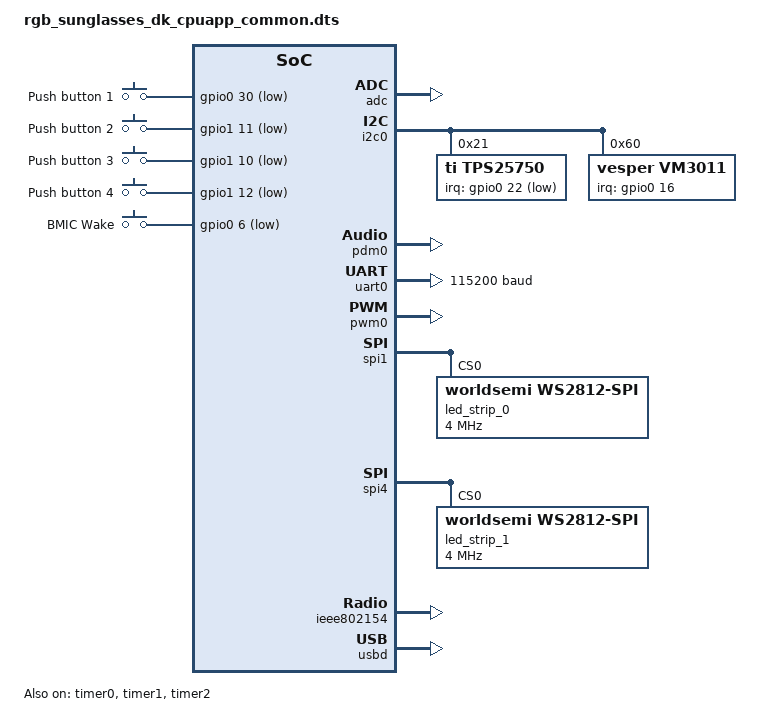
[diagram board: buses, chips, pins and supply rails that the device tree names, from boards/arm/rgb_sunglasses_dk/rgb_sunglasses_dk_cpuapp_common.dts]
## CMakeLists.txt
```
#
# Copyright (c) 2023 Nordic Semiconductor
#
# SPDX-License-Identifier: LicenseRef-Nordic-5-Clause
#
cmake_minimum_required(VERSION 3.20.0)

find_package(Zephyr REQUIRED HINTS $ENV{ZEPHYR_BASE})
project(NONE)

add_subdirectory(drivers)
add_subdirectory(include)

# NORDIC SDK APP START
target_sources(
  app
  PRIVATE
    src/main.c
    src/usb/usb_init.c
    src/led_controller.cpp
    src/pattern_controller.cpp
    src/buttons.cpp
    src/power.cpp
    src/bluetooth.cpp
    src/core_config.cpp
    src/animations/bt_animations.cpp
    src/animations/null_animation.cpp
    src/animations/text_animation.cpp
    src/animations/animation_registry.cpp
    src/animations/animation_registry_defaults.cpp
    src/animations/animation_base.cpp
    src/fonts/FontAtlas.cpp
    src/fonts/FontShell.cpp
    misc/tps25750/tps25750-config-compressed.c
)

target_sources_ifdef(CONFIG_AUDIO app PRIVATE src/sound/sound.cpp)
target_sources_ifdef(CONFIG_AUDIO app PRIVATE src/sound/audio_dsp.cpp)
target_sources_ifdef(CONFIG_FAT_FILESYSTEM_ELM app PRIVATE src/storage/storage.cpp)
target_sources_ifdef(CONFIG_FAT_FILESYSTEM_ELM app PRIVATE src/storage/glim_decoder.cpp)
target_sources_ifdef(CONFIG_ANIMATION_MY_EYES app PRIVATE src/animations/my_eyes_animation.cpp)
target_sources_ifdef(CONFIG_ANIMATION_RAINBOW app PRIVATE src/animations/rainbow_animation.cpp)
target_sources_ifdef(CONFIG_ANIMATION_ZIGZAG app PRIVATE src/animations/zigzag_animation.cpp)
target_sources_ifdef(CONFIG_ANIMATION_BEAT    app PRIVATE src/animations/beat_animation.cpp)
target_sources_ifdef(CONFIG_ANIMATION_FFT_BARS app PRIVATE src/animations/fft_bars_animation.cpp)
target_sources_ifdef(CONFIG_ANIMATION_BAD_APPLE app PRIVATE src/animations/bad_apple_animation.cpp)
target_sources_ifdef(CONFIG_ANIMATION_NYAN_CAT  app PRIVATE src/animations/nyan_cat_animation.cpp)

if(CONFIG_ANIMATION_BEAT OR CONFIG_ANIMATION_FFT_BARS)
  target_sources(app PRIVATE src/sound/animation_adapters/audio_animations_sound.cpp)
endif()

target_sources(app PRIVATE src/bluetooth/animation_adapters/text_animation_bt.cpp)

target_sources_ifdef(CONFIG_ANIMATION_MY_EYES app PRIVATE src/bluetooth/animation_adapters/my_eyes_animation_bt.cpp)
target_sources_ifdef(CONFIG_ANIMATION_RAINBOW app PRIVATE src/bluetooth/animation_adapters/rainbow_animation_bt.cpp)
target_sources_ifdef(CONFIG_ANIMATION_ZIGZAG  app PRIVATE src/bluetooth/animation_adapters/zigzag_animation_bt.cpp)
target_sources_ifdef(CONFIG_ANIMATION_BEAT    app PRIVATE src/bluetooth/animation_adapters/beat_animation_bt.cpp)
target_sources_ifdef(CONFIG_ANIMATION_FFT_BARS app PRIVATE src/bluetooth/animation_adapters/fft_bars_animation_bt.cpp)
target_sources_ifdef(CONFIG_ANIMATION_BAD_APPLE app PRIVATE src/bluetooth/animation_adapters/bad_apple_animation_bt.cpp)
target_sources_ifdef(CONFIG_ANIMATION_NYAN_CAT  app PRIVATE src/bluetooth/animation_adapters/nyan_cat_animation_bt.cpp)

target_sources_ifdef(CONFIG_NETCORE_VERSION_IPC app PRIVATE src/netcore_version.c)

target_include_directories(
  app 
  PRIVATE
    misc/
    src/
)

# Needs to be accessible to drivers so that the TPS25750 can access the patch file
zephyr_include_directories(misc)

# NORDIC SDK APP END
```

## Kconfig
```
#
# Copyright (c) 2023 Nordic Semiconductor
#
# SPDX-License-Identifier: LicenseRef-Nordic-5-Clause
#

source "Kconfig.zephyr"

menu "Nordic Status Message GATT service sample"

config BT_STATUS_SECURITY_ENABLED
	bool "Enable security"
	default y
	select BT_SMP
	select BT_SETTINGS
	select FLASH
	select FLASH_PAGE_LAYOUT
	select FLASH_MAP
	select NVS
	select SETTINGS
	help
	  Enable BLE security implementation for Nordic Status Message instances.
	  After enabling this option one of the Status Messages would be available only when
	  connection is secure.

endmenu

config DUMP_DEVICE_REGISTERS
	bool "Enable dump device registers"
	default n
	help
	  Enable dumping of device registers.

config ANIMATION_MY_EYES
	bool "Enable My Eyes animation"
	default y
	help
	  Enable the My Eyes animation for the sunglasses.

config ANIMATION_RAINBOW
	bool "Enable Rainbow animation"
	default y
	help
	  Enable the Rainbow animation for the sunglasses.

config ANIMATION_ZIGZAG
	bool "Enable Zigzag animation"
	default y
	help
	  Enable the Zigzag animation for the sunglasses.

config ANIMATION_BEAT
	bool "Enable Beat animation"
	depends on AUDIO
	help
	  Enable the Beat animation. Requires CONFIG_AUDIO=y.
	  Flashes per-band column strips on each detected beat.

config ANIMATION_FFT_BARS
	bool "Enable FFT Bars animation"
	depends on AUDIO
	help
	  Enable the FFT Bars animation. Requires CONFIG_AUDIO=y.
	  Displays a live bar graph of the four frequency-band energies.

config ANIMATION_BAD_APPLE
	bool "Enable Bad Apple animation"
	depends on FAT_FILESYSTEM_ELM
	default n
	help
	  Plays the Bad Apple!! demo on the LED display. Reads frames from
	  /NAND:/bad_apple.glim on the 4 MB FAT partition (Proto0 only).
	  Use tools/convert_bad_apple.py to generate the .glim file.
	  If the file is missing, scrolls "NO FILE" as an error message.

config ANIMATION_NYAN_CAT
	bool "Enable Nyan Cat animation"
	depends on FAT_FILESYSTEM_ELM
	default n
	help
	  Plays the Nyan Cat animation on the LED display. Reads RGB24 frames from
	  /NAND:/nyan_cat.glim on the 4 MB FAT partition (Proto0 only).
	  Use tools/convert_gif_to_glim.py to generate the .glim file.
	  If the file is missing, scrolls "NO FILE" as a rainbow-colored error message.

config NETCORE_VERSION_IPC
	bool "Query running net core version via IPC"
	depends on IPC_SERVICE
	help
	  Registers an IPC endpoint (NETCORE_VER) on ipc0 at startup.
	  The net core responds with its running firmware version and
	  SHA256 hash; the result is cached and surfaced through the
	  net_core_sim_flash driver so MCUMgr img_list reports real data.

if NETCORE_VERSION_IPC

module = NETCORE_VERSION
module-str = "netcore_version"
source "${ZEPHYR_BASE}/subsys/logging/Kconfig.template.log_config"

endif # NETCORE_VERSION_IPC

rsource "drivers/Kconfig"
```

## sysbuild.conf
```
# Use the NRF Secure Immutable Bootloader as the first-stage bootloader for the app core
# See: https://docs.nordicsemi.com/bundle/ncs-3.1.1/page/nrf/samples/bootloader/README.html
# This bootloader is also called "b0"
# SB_CONFIG_SECURE_BOOT_APPCORE=y

# Use MCUboot as the first or second-stage bootload on the app core
# If SB_CONFIG_SECURE_BOOT_APPCORE=y, then this will be the second-stage bootloader
# If SB_CONFIG_SECURE_BOOT_APPCORE=n, then this will be the first-stage bootloader
SB_CONFIG_BOOTLOADER_MCUBOOT=y

# Use the NRF Secure Immutable Bootloader as the first-stage bootloader for the network core
# This bootloader is also called "b0n"
SB_CONFIG_SECURE_BOOT_NETCORE=y

# Support network core updates via b0n
SB_CONFIG_NETCORE_APP_UPDATE=y

# Support updating both Network core and Application core via MCUBoot
# This is accomplished by:
# 1) Having a traditional two-slot flash partition reservation for the app
# 2) Reserving the "secondary" slot for the network core in flash. MCUboot writes the in-progress update to 
# 3) Reserving the "primary" slot for the network core in RAM (as "simulated flash"). MCUboot copies the network core image here after it has been validated, 
# and then signals to B0N that the image is ready to be downloaded.
#
# See bootloader\mcuboot\boot\zephyr\pm.yml for details.
SB_CONFIG_MCUBOOT_NRF53_MULTI_IMAGE_UPDATE=y
```

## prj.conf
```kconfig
#
# Copyright (c) 2023 Nordic Semiconductor
#
# SPDX-License-Identifier: LicenseRef-Nordic-5-Clause
#

# WTF is going on in these functions...
# CONFIG_OUTPUT_DISASSEMBLY=y

# Enable C++ Language Support
CONFIG_CPP=y

# Enable support for C++23 (HELL YEAH!)
CONFIG_STD_CPP2B=y

# Link against the C++ Standard Library
CONFIG_REQUIRES_FULL_LIBCPP=y

CONFIG_BT=y
CONFIG_BT_PERIPHERAL=y

# Enable dynamic BT device name (allows changing name at runtime)
CONFIG_BT_DEVICE_NAME_DYNAMIC=y

# Needed for GATT Long Write
CONFIG_BT_ATT_PREPARE_COUNT=4

CONFIG_SYSTEM_WORKQUEUE_STACK_SIZE=2048

CONFIG_BOOTLOADER_MCUBOOT=y

CONFIG_NRF53_UPGRADE_NETWORK_CORE=y

CONFIG_OUTPUT_PRINT_MEMORY_USAGE=y

CONFIG_SPI=y

CONFIG_LED=y

CONFIG_LED_STRIP=y

CONFIG_WS2812_STRIP_SPI=y

CONFIG_STACK_SENTINEL=y

# Old USB device stack has bugs in the mass storage class implementation
# Use the new USB device stack which has a much better USB MSC implementation.
#CONFIG_USB_DEVICE_STACK=y
CONFIG_USB_DEVICE_STACK_NEXT=y

CONFIG_SERIAL=y

CONFIG_CONSOLE=y

CONFIG_UART_CONSOLE=y

CONFIG_UART_LINE_CTRL=y

# USBD Next CDC ACM class — auto-enabled by DT_HAS_ZEPHYR_CDC_ACM_UART_ENABLED,
# but listed explicitly for clarity. Replaces the old CONFIG_USB_CDC_ACM.
CONFIG_USBD_CDC_ACM_CLASS=y

# Hardware info provides a unique USB serial number from the device FICR.
CONFIG_HWINFO=y

CONFIG_LOG=y
CONFIG_LOG_MODE_DEFERRED=y
# Unused and takes space
# CONFIG_LOG_RUNTIME_FILTERING=y
CONFIG_LOG_BUFFER_SIZE=8192

CONFIG_DEBUG_COREDUMP=y

CONFIG_DEBUG_COREDUMP_BACKEND_LOGGING=y

CONFIG_EXTRA_EXCEPTION_INFO=y

# Enable thread performance monitoring
CONFIG_THREAD_MONITOR=y

# Enable the home-built TPS25750 USB Power Delivery controller driver
CONFIG_TPS25750=y

# Need I2C to talk to various components
CONFIG_I2C=y

CONFIG_FLASH=y

# Enable the home-built BQ25792 battery charger driver
CONFIG_BQ25792=y

# Enable a shell that will let us debug the NVM settings
CONFIG_SETTINGS_SHELL=y

# Needed to make LEDs go brr
CONFIG_SPI_ASYNC=y
CONFIG_POLL=y

# Allow for large Bluetooth data packets.
# This speeds up DFU over Bluetooth.
CONFIG_BT_L2CAP_TX_MTU=498
CONFIG_BT_BUF_ACL_TX_SIZE=251
CONFIG_BT_BUF_ACL_TX_SIZE=502

# Enable the Shell
CONFIG_SHELL=y
CONFIG_SHELL_BACKEND_SERIAL=y
# Increased from default 2048
CONFIG_SHELL_STACK_SIZE=4096
CONFIG_SENSOR_SHELL_THREAD_STACK_SIZE=4096

# Validate mem slabs, debugging DMIC
CONFIG_MEM_SLAB_POINTER_VALIDATE=y

# Enable the LittleFS file system.
# Disabled to save ROM
# CONFIG_FILE_SYSTEM=y
# CONFIG_FILE_SYSTEM_LITTLEFS=y

# Disable Bluetooth ping support
# CONFIG_BT_CTLR_LE_PING=n

# Non-zero heap is required for libmetal to be able to allocate
CONFIG_KERNEL_MEM_POOL=y
CONFIG_HEAP_MEM_POOL_SIZE=4096

# Save A LOT of memory! ~30KB
CONFIG_ASSERT=n


# Save generated pre-processed files
# Helpful for debugging macro expansion issues
# CONFIG_COMPILER_SAVE_TEMPS=y

# For decompressing the TPS25750 patch
CONFIG_LZ4=y

CONFIG_TPS25750_INTERNAL_PATCH=y
CONFIG_TPS25750_COMPRESSED_PATCH=y
CONFIG_TPS25750_PATCH_HEADER_FILE="tps25750/tps25750-config-compressed.h"

# Include reboot API
CONFIG_REBOOT=y

CONFIG_NETCORE_VERSION_IPC=y

### MCUmgr
# Originally: 
CONFIG_NCS_SAMPLE_MCUMGR_BT_OTA_DFU=y

# Needed by MCUMgr
CONFIG_ZCBOR=y

# Enable MCUmgr
CONFIG_MCUMGR=y

# Enable MCUmgr over UART
# In the board file, we assign this to a USB-CDC UART
CONFIG_MCUMGR_TRANSPORT_UART=y

# Needed by CONFIG_MCUMGR_TRANSPORT_UART
CONFIG_BASE64=y

# Enable MCUmgr over Bluetooth
CONFIG_MCUMGR_TRANSPORT_BT=y

CONFIG_MCUMGR_TRANSPORT_BT_CONN_PARAM_CONTROL=y
CONFIG_MCUMGR_TRANSPORT_BT_REASSEMBLY=y

# Require encryption for access
# CONFIG_MCUMGR_TRANSPORT_BT_PERM_RW_ENCRYPT=y

# Require encryption and authentication for access
# CONFIG_MCUMGR_TRANSPORT_BT_PERM_RW_AUTHEN=y

# Enable DFU image management commands
CONFIG_STREAM_FLASH=y
CONFIG_IMG_MANAGER=y
CONFIG_MCUMGR_GRP_IMG=y

# Enable enumeration commands (querying supported command groups)
CONFIG_MCUMGR_GRP_ENUM=y

# Needs to be large since some global variable initialization requires very deep stacks
CONFIG_MAIN_STACK_SIZE=32768

# Enable audio animations (silently disabled when CONFIG_AUDIO=n, e.g. on the DK board conf).
CONFIG_ANIMATION_BEAT=y
CONFIG_ANIMATION_FFT_BARS=y

# Silence noisy USBD logs that print useless info at INF() level
CONFIG_USBD_LOG_LEVEL_WRN=y

# Seems to need to be larger...?
CONFIG_BT_LONG_WQ_STACK_SIZE=3600

# Enable viewing how much of each Stack has been used, maximum, across the entire
# run
CONFIG_INIT_STACKS=y

CONFIG_ISR_STACK_SIZE=4096

# Seems to be required for Bluetooth
CONFIG_BT_RX_STACK_SIZE=4096
```

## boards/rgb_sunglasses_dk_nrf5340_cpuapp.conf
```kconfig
# DK-specific Kconfig overrides.
# Picked up automatically by west build when targeting rgb_sunglasses_dk/nrf5340/cpuapp.

# Enable statistics commands
# Disabled to save ROM
CONFIG_MCUMGR_GRP_STAT=n

# Enable shell-over-MCUmgr
# Disabled to save ROM
CONFIG_MCUMGR_GRP_SHELL=n

# Enable zephyr basic commands
# Disabled to save ROM
CONFIG_MCUMGR_GRP_ZBASIC=n

# Enable settings management
# Disabled to save ROM
CONFIG_MCUMGR_GRP_SETTINGS=n

# Enable SMP OS management group commands
# Disabled to save ROM
CONFIG_MCUMGR_GRP_OS=n
CONFIG_MCUMGR_GRP_OS_INFO=n
CONFIG_MCUMGR_GRP_OS_ECHO=n
CONFIG_MCUMGR_GRP_OS_TASKSTAT=n

# Enable file-system management group commands
# TODO: recommended to implement ACLs using MCUMGR_GRP_FS_FILE_ACCESS_HOOK
CONFIG_MCUMGR_GRP_FS=n

# Disable shell commands that are not needed
CONFIG_CLOCK_CONTROL_NRF_SHELL=n
CONFIG_DEVICE_SHELL=n
CONFIG_DEVMEM_SHELL=n
CONFIG_FLASH_SHELL=n

# Minimize Shell memory usage
CONFIG_SHELL_MINIMAL=y

# Enable the microphone driver
CONFIG_VM3011=y

# Enable audio subsystem support
CONFIG_AUDIO=n

# Enable the generic PDM / DMIC interface
CONFIG_AUDIO_DMIC=n

CONFIG_FPU=y
CONFIG_FPU_SHARING=y

CONFIG_CMSIS_DSP=y
CONFIG_CMSIS_DSP_TRANSFORM=y
CONFIG_CMSIS_DSP_COMPLEXMATH=y
CONFIG_CMSIS_DSP_STATISTICS=y
CONFIG_CMSIS_DSP_WINDOW=y

# CONFIG_DEBUG=y
# CONFIG_DEBUG_OPTIMIZATIONS=y

# Oh god do we ever need this
# CONFIG_SIZE_OPTIMIZATIONS_AGGRESSIVE=y
CONFIG_SIZE_OPTIMIZATIONS=y
```

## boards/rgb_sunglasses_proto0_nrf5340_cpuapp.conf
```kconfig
# Proto0-specific Kconfig overrides.
# Picked up automatically by west build when targeting rgb_sunglasses_proto0/nrf5340/cpuapp.

# BMI270 6-axis IMU (not present on rgb_sunglasses_dk)
CONFIG_SENSOR=y
CONFIG_BMI270=y
CONFIG_BMI270_TRIGGER_OWN_THREAD=y

# MX25R6435F QSPI NOR flash (not present on rgb_sunglasses_dk)
CONFIG_NORDIC_QSPI_NOR=y
# PM_DEVICE required for deep-power-down (has-dpd in DTS)
CONFIG_PM_DEVICE=y

CONFIG_FLASH_SHELL=y

# FAT filesystem on the external QSPI flash, exposed via USB Mass Storage.
# The flash disk driver wires the fat_partition DTS node to the "NAND" disk;
# CONFIG_USBD_MSC_CLASS registers it as a composite USB MSC interface alongside
# the two existing CDC ACM interfaces (console + mcumgr).
# CONFIG_FS_FATFS_MOUNT_MKFS auto-formats the partition on first mount.
CONFIG_FILE_SYSTEM=y
CONFIG_FAT_FILESYSTEM_ELM=y
CONFIG_FS_FATFS_MOUNT_MKFS=y
CONFIG_DISK_DRIVER_FLASH=y

# Long File Name support is needed for filenames longer than 12 characters
# Default buffer supports filenames up to 255 characters
CONFIG_FS_FATFS_LFN=y

# USBD Next Mass Storage Class. Replaces the old CONFIG_USB_MASS_STORAGE.
# The LUN name ("NAND") and disk binding are configured in src/usb/usb_init.c.
CONFIG_USBD_MSC_CLASS=y

# The MX25R6435F has a 4 KB erase page, so the SCSI buffer and FAT sector size
# must both be at least 4096 bytes to avoid sub-page writes.
CONFIG_USBD_MSC_SCSI_BUFFER_SIZE=4096

# The default FATFS sector size is 512 bytes, but the MX25R6435F has a 4KB page size.
# Sector Size == Page Size for flash-backed FAT FS
CONFIG_FS_FATFS_MAX_SS=4096

CONFIG_FILE_SYSTEM_SHELL=y

# Enable audio subsystem support
CONFIG_AUDIO=y

# Enable the generic PDM / DMIC interface
CONFIG_AUDIO_DMIC=y

# Enable support for dumping all device registers to the Shell. Memory hungry but we have memory to spare.
CONFIG_DUMP_DEVICE_REGISTERS=y

# Enable sensor support + streaming support
CONFIG_SENSOR_SHELL=y
CONFIG_SENSOR_SHELL_STREAM=y

CONFIG_DEBUG=y
CONFIG_DEBUG_INFO=y
CONFIG_DEBUG_OPTIMIZATIONS=y
CONFIG_STACK_USAGE=y
CONFIG_THREAD_RUNTIME_STATS=y
CONFIG_INIT_STACKS=y

# Oh god do we ever need this
# CONFIG_SIZE_OPTIMIZATIONS_AGGRESSIVE=y
# CONFIG_SIZE_OPTIMIZATIONS=y

CONFIG_HW_STACK_PROTECTION=y

CONFIG_STACK_USAGE=y

CONFIG_DEBUG_COREDUMP_MEMORY_DUMP_THREADS=y
CONFIG_DEBUG_COREDUMP_THREADS_METADATA=y

CONFIG_FPU=y
CONFIG_FPU_SHARING=y

CONFIG_CMSIS_DSP=y
CONFIG_CMSIS_DSP_TRANSFORM=y
CONFIG_CMSIS_DSP_COMPLEXMATH=y
CONFIG_CMSIS_DSP_STATISTICS=y
CONFIG_CMSIS_DSP_WINDOW=y

CONFIG_LLEXT=y
# Size is in Kilobytes. Default is 8KB, but we have lots of RAM to spare.
CONFIG_LLEXT_HEAP_SIZE=16
CONFIG_LLEXT_SHELL=y
# Generate an Extension Development Kit (EDK)
CONFIG_LLEXT_EDK=y

CONFIG_BT_DEVICE_NAME="RGB Sunglasses Proto0"

CONFIG_ANIMATION_BAD_APPLE=y
CONFIG_ANIMATION_NYAN_CAT=y

CONFIG_MCUMGR_GRP_OS_TASKSTAT=y
CONFIG_MCUMGR_GRP_OS_TASKSTAT_STACK_INFO=y
```

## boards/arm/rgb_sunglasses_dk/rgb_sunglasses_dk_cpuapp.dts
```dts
/*
 * Copyright (c) 2020 Nordic Semiconductor ASA
 *
 * SPDX-License-Identifier: Apache-2.0
 */

/dts-v1/;
#include <nordic/nrf5340_cpuapp_qkaa.dtsi>
#include "rgb_sunglasses_dk_cpuapp_common.dts"

/ {
	model = "Nordic NRF5340 DK NRF5340 Application";
	compatible = "nordic,nrf5340-dk-nrf5340-cpuapp";

	chosen {
		zephyr,sram = &sram0_image;
		zephyr,flash = &flash0;
		zephyr,code-partition = &slot0_partition;
		zephyr,sram-secure-partition = &sram0_s;
		zephyr,sram-non-secure-partition = &sram0_ns;
	};
};
```

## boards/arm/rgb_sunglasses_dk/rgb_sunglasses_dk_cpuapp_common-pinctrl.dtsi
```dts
/*
 * Copyright (c) 2022 Nordic Semiconductor
 * SPDX-License-Identifier: Apache-2.0
 */

&pinctrl {
	i2c0_default: i2c0_default {
		group1 {
			psels = <NRF_PSEL(TWIM_SDA, 1, 2)>,
				<NRF_PSEL(TWIM_SCL, 1, 3)>;
			bias-pull-up;
		};
	};

	i2c0_sleep: i2c0_sleep {
		group1 {
			psels = <NRF_PSEL(TWIM_SDA, 1, 2)>,
				<NRF_PSEL(TWIM_SCL, 1, 3)>;
			low-power-enable;
		};
	};

	uart0_default: uart0_default {
		group1 {
			psels = <NRF_PSEL(UART_TX, 0, 20)>,
				<NRF_PSEL(UART_RTS, 0, 19)>;
		};
		group2 {
			psels = <NRF_PSEL(UART_RX, 0, 22)>,
				<NRF_PSEL(UART_CTS, 0, 21)>;
			bias-pull-up;
		};
	};

	uart0_sleep: uart0_sleep {
		group1 {
			psels = <NRF_PSEL(UART_TX, 0, 20)>,
				<NRF_PSEL(UART_RX, 0, 22)>,
				<NRF_PSEL(UART_RTS, 0, 19)>,
				<NRF_PSEL(UART_CTS, 0, 21)>;
			low-power-enable;
		};
	};

	pwm0_default: pwm0_default {
		group1 {
			psels = <NRF_PSEL(PWM_OUT0, 0, 28)>;
		};
	};

	pwm0_sleep: pwm0_sleep {
		group1 {
			psels = <NRF_PSEL(PWM_OUT0, 0, 28)>;
			low-power-enable;
		};
	};

	/*qspi_default: qspi_default {
		group1 {
			psels = <NRF_PSEL(QSPI_SCK, 0, 17)>,
				<NRF_PSEL(QSPI_IO0, 0, 13)>,
				<NRF_PSEL(QSPI_IO1, 0, 14)>,
				<NRF_PSEL(QSPI_IO2, 0, 15)>,
				<NRF_PSEL(QSPI_IO3, 0, 16)>,
				<NRF_PSEL(QSPI_CSN, 0, 18)>;
		};
	};

	qspi_sleep: qspi_sleep {
		group1 {
			psels = <NRF_PSEL(QSPI_SCK, 0, 17)>,
				<NRF_PSEL(QSPI_IO0, 0, 13)>,
				<NRF_PSEL(QSPI_IO1, 0, 14)>,
				<NRF_PSEL(QSPI_IO2, 0, 15)>,
				<NRF_PSEL(QSPI_IO3, 0, 16)>;
			low-power-enable;
		};
		group2 {
			psels = <NRF_PSEL(QSPI_CSN, 0, 18)>;
			low-power-enable;
			bias-pull-up;
		};
	};*/

	uart1_default: uart1_default {
		group1 {
			psels = <NRF_PSEL(UART_TX, 1, 1)>;
		};
		group2 {
			psels = <NRF_PSEL(UART_RX, 1, 0)>;
			bias-pull-up;
		};
	};

	uart1_sleep: uart1_sleep {
		group1 {
			psels = <NRF_PSEL(UART_TX, 1, 1)>,
				<NRF_PSEL(UART_RX, 1, 0)>;
			low-power-enable;
		};
	};

	spi4_default: spi4_default {
		group1 {
			psels = <NRF_PSEL(SPIM_SCK, 1, 15)>,
				<NRF_PSEL(SPIM_MISO, 1, 14)>,
				<NRF_PSEL(SPIM_MOSI, 0, 29)>;
		};
	};

	spi4_sleep: spi4_sleep {
		group1 {
			psels = <NRF_PSEL(SPIM_SCK, 1, 15)>,
				<NRF_PSEL(SPIM_MISO, 1, 14)>,
				<NRF_PSEL(SPIM_MOSI, 0, 29)>;
			low-power-enable;
		};
	};

	spi1_default: spi1_default {
		group1 {
			psels = <NRF_PSEL(SPIM_SCK, 0, 7)>,
				<NRF_PSEL(SPIM_MISO, 0, 19)>,
				<NRF_PSEL(SPIM_MOSI, 1, 5)>;
		};
	};

	spi1_sleep: spi1_sleep {
		group1 {
			psels = <NRF_PSEL(SPIM_SCK, 0, 7)>,
				<NRF_PSEL(SPIM_MISO, 0, 19)>,
				<NRF_PSEL(SPIM_MOSI, 1, 5)>;
			low-power-enable;
		};
	};

	pdm0_default: pdm0_default {
		group1 {
			psels = <NRF_PSEL(PDM_CLK, 0, 17)>,
				<NRF_PSEL(PDM_DIN, 0, 3)>;
		};
	};

};
```

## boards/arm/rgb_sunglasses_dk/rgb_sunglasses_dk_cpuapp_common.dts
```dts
/*
 * Copyright (c) 2019-2020 Nordic Semiconductor ASA
 *
 * SPDX-License-Identifier: Apache-2.0
 */
#include "rgb_sunglasses_dk_cpuapp_common-pinctrl.dtsi"

#include <freq.h>
#include <zephyr/dt-bindings/led/led.h>
#include <zephyr/dt-bindings/spi/spi.h>

/ {

	chosen {
		zephyr,console = &cdc_acm_uart0;
		zephyr,shell-uart = &cdc_acm_uart0;
		zephyr,uart-mcumgr = &cdc_acm_uart1;
		//zephyr,bt-mon-uart = &uart0;
		//zephyr,bt-c2h-uart = &uart0;
		zephyr,bt-hci-rpmsg-ipc = &ipc0;
		nordic,802154-spinel-ipc = &ipc0;
		zephyr,ieee802154 = &ieee802154;
	};

	/*leds {
		compatible = "gpio-leds";
		led0: led_0 {
			gpios = <&gpio0 28 GPIO_ACTIVE_LOW>;
			label = "Green LED 0";
		};
		led1: led_1 {
			gpios = <&gpio0 29 GPIO_ACTIVE_LOW>;
			label = "Green LED 1";
		};
		led2: led_2 {
			gpios = <&gpio0 30 GPIO_ACTIVE_LOW>;
			label = "Green LED 2";
		};
		led3: led_3 {
			gpios = <&gpio0 31 GPIO_ACTIVE_LOW>;
			label = "Green LED 3";
		};
	};*/

	/*pwmleds {
		compatible = "pwm-leds";
		pwm_led0: pwm_led_0 {
			pwms = <&pwm0 0 PWM_MSEC(20) PWM_POLARITY_INVERTED>;
		};
	};*/

	buttons {
		compatible = "gpio-keys";
		button0: button_0 {
			gpios = <&gpio0 30 (GPIO_PULL_UP | GPIO_ACTIVE_LOW)>;
			label = "Push button 1";
		};
		button1: button_1 {
			gpios = <&gpio1 11 (GPIO_PULL_UP | GPIO_ACTIVE_LOW)>;
			label = "Push button 2";
		};
		button2: button_2 {
			gpios = <&gpio1 10 (GPIO_PULL_UP | GPIO_ACTIVE_LOW)>;
			label = "Push button 3";
		};
		button3: button_3 {
			gpios = <&gpio1 12 (GPIO_PULL_UP | GPIO_ACTIVE_LOW)>;
			label = "Push button 4";
		};
		button4: bmic_wake {
			gpios = <&gpio0 6 (GPIO_PULL_UP | GPIO_ACTIVE_LOW)>;
			label = "BMIC Wake";
		};
	};

	// arduino_header: connector {
	// 	compatible = "arduino-header-r3";
	// 	#gpio-cells = <2>;
	// 	gpio-map-mask = <0xffffffff 0xffffffc0>;
	// 	gpio-map-pass-thru = <0 0x3f>;
	// 	gpio-map = <0 0 &gpio0 4 0>,	/* A0 */
	// 		   <1 0 &gpio0 5 0>,	/* A1 */
	// 		   <2 0 &gpio0 6 0>,	/* A2 */
	// 		   <3 0 &gpio0 7 0>,	/* A3 */
	// 		   <4 0 &gpio0 25 0>,	/* A4 */
	// 		   <5 0 &gpio0 26 0>,	/* A5 */
	// 		   <6 0 &gpio1 0 0>,	/* D0 */
	// 		   <7 0 &gpio1 1 0>,	/* D1 */
	// 		   <8 0 &gpio1 4 0>,	/* D2 */
	// 		   <9 0 &gpio1 5 0>,	/* D3 */
	// 		   <10 0 &gpio1 6 0>,	/* D4 */
	// 		   <11 0 &gpio1 7 0>,	/* D5 */
	// 		   <12 0 &gpio1 8 0>,	/* D6 */
	// 		   <13 0 &gpio1 9 0>,	/* D7 */
	// 		   <14 0 &gpio1 10 0>,	/* D8 */
	// 		   <15 0 &gpio1 11 0>,	/* D9 */
	// 		   <16 0 &gpio1 12 0>,	/* D10 */
	// 		   <17 0 &gpio1 13 0>,	/* D11 */
	// 		   <18 0 &gpio1 14 0>,	/* D12 */
	// 		   <19 0 &gpio1 15 0>,	/* D13 */
	// 		   <20 0 &gpio1 2 0>,	/* D14 */
	// 		   <21 0 &gpio1 3 0>;	/* D15 */
	// };

	// arduino_adc: analog-connector {
	// 	compatible = "arduino,uno-adc";
	// 	#io-channel-cells = <1>;
	// 	io-channel-map = <0 &adc 0>,	/* A0 = P0.4 = AIN0 */
	// 			 <1 &adc 1>,	/* A1 = P0.5 = AIN1 */
	// 			 <2 &adc 2>,	/* A2 = P0.6 = AIN2 */
	// 			 <3 &adc 3>,	/* A3 = P0.7 = AIN3 */
	// 			 <4 &adc 4>,	/* A4 = P0.25 = AIN4 */
	// 			 <5 &adc 5>;	/* A5 = P0.26 = AIN5 */
	// };

	gpio_fwd: nrf-gpio-forwarder {
		compatible = "nordic,nrf-gpio-forwarder";
		status = "okay";
		uart {
			gpios = <&gpio1 1 0>, <&gpio1 0 0>, <&gpio0 11 0>, <&gpio0 10 0>;
		};
	};

	/* These aliases are provided for compatibility with samples */
	aliases {
		/*led0 = &led0;
		led1 = &led1;
		led2 = &led2;
		led3 = &led3;
		pwm-led0 = &pwm_led0;*/
		sw0 = &button0;
		sw1 = &button1;
		sw2 = &button2;
		sw3 = &button3;
		sw-wake = &button4;
		/*bootloader-led0 = &led0;*/
		mcuboot-button0 = &button1;
		/*mcuboot-led0 = &led0;*/
		watchdog0 = &wdt0;
		led-strip-0 = &led_strip_0;
		led-strip-1 = &led_strip_1;
		/*spi-flash0 = &mx25r64;*/
		mic-control = &vm3011;
		mic = &pdm0;
	};
};

&adc {
	status = "okay";
};

&gpiote {
	status = "okay";
};

&gpio0 {
	status = "okay";
};

&gpio1 {
	status = "okay";
};

&i2c0 {
	compatible = "nordic,nrf-twim";
	status = "okay";
	pinctrl-0 = <&i2c0_default>;
	pinctrl-1 = <&i2c0_sleep>;
	pinctrl-names = "default", "sleep";

	tps25750: tps25750@21 {
		compatible = "ti,tps25750";
		reg = <0x21>; /* The address of the device in "normal" mode */
		patch-address = <0x15>; /* The address of the device during patch download */
		patch-chunk-size = <128>; /* the size of the packets sent during patch download */
		status = "okay";
		irq-gpios = <&gpio0 22 (GPIO_ACTIVE_LOW)>; /* Might need to add GPIO_PULL_UP or GPIO_PULL_DOWN here? */

		/* TPS25750 is also an I2C master. Define required properties */
		#address-cells = <1>;
    	#size-cells = <0>;

		bq25792: bq25792@6b {
			compatible = "ti,bq25792";
			reg = <0x6B>;
			status = "okay";
		};
	};

	vm3011: vm3011@60 {
		compatible = "vesper,vm3011";
			reg = <0x60>;
			irq-gpios = <&gpio0 16 (GPIO_ACTIVE_HIGH)>;
			status = "okay";
	};
};

&clock {
	hfclkaudio-frequency = <12288000>;
};

&pdm0 {
	status = "okay";
	pinctrl-0 = <&pdm0_default>;
	pinctrl-names = "default";
	queue-size = < 10 >;
	clock-source = "PCLK32M";
};

&uart0 {
	//status = "okay";
	current-speed = <115200>;
	pinctrl-0 = <&uart0_default>;
	pinctrl-1 = <&uart0_sleep>;
	pinctrl-names = "default", "sleep";
};

&pwm0 {
	status = "okay";
	pinctrl-0 = <&pwm0_default>;
	pinctrl-1 = <&pwm0_sleep>;
	pinctrl-names = "default", "sleep";
};

&timer0 {
	status = "okay";
};

&timer1 {
	status = "okay";
};

&timer2 {
	status = "okay";
};

led_strip_spi_0: &spi1 {
	status = "okay";
	pinctrl-0 = <&spi1_default>;
	pinctrl-1 = <&spi1_sleep>;
	pinctrl-names = "default", "sleep";

	// Attach our LED strip to SPI1
	led_strip_0: ws2812@0 {
		compatible = "worldsemi,ws2812-spi";
        status = "okay";

		/* SPI */
		reg = <0>; /* ignored, but necessary for SPI bindings */
		spi-max-frequency = <DT_FREQ_M(4)>;
		frame-format = <SPI_FRAME_FORMAT_TI>;

		/* WS2812 */
		chain-length = <216>; /* arbitrary; change at will */
		spi-one-frame = <0x70>;
		spi-zero-frame = <0x40>;
		color-mapping = <LED_COLOR_ID_GREEN LED_COLOR_ID_RED LED_COLOR_ID_BLUE>;
	};
};

led_strip_spi_1: &spi4 {
	status = "okay";
	pinctrl-0 = <&spi4_default>;
	pinctrl-1 = <&spi4_sleep>;
	pinctrl-names = "default", "sleep";

	// Attach our LED strip to SPI1
	led_strip_1: ws2812_1@0 {
		compatible = "worldsemi,ws2812-spi";
        status = "okay";

		/* SPI */
		reg = <0>; /* ignored, but necessary for SPI bindings */
		spi-max-frequency = <DT_FREQ_M(4)>;
		frame-format = <SPI_FRAME_FORMAT_TI>;

		/* WS2812 */
		chain-length = <216>; /* arbitrary; change at will */
		spi-one-frame = <0x70>;
		spi-zero-frame = <0x40>;
		color-mapping = <LED_COLOR_ID_GREEN LED_COLOR_ID_RED LED_COLOR_ID_BLUE>;
	};
};

/* WARNING: these partition definitions do nothing because we are always building in multi-image mode, so we instead use Nordic's "Partition manager" */
&flash0 {
	status = "okay";
	partitions {
		compatible = "fixed-partitions";
		#address-cells = <1>;
		#size-cells = <1>;

		boot_partition: partition@0 {
			label = "mcuboot";
			reg = <0x00000000 0x00030000>;
		};
		slot0_partition: partition@30000 {
			label = "image-0";
		};
		slot1_partition: partition@90000 {
			label = "image-1";
		};
		scratch_partition: partition@f0000 {
			label = "image-scratch";
			reg = <0x000f0000 0xa000>;
		};
		storage_partition: partition@fa000 {
			label = "storage";
			reg = <0x000fa000 0x00006000>;
		};
	};
};

&ieee802154 {
	status = "okay";
};

zephyr_udc0: &usbd {
	compatible = "nordic,nrf-usbd";
	status = "okay";

	/* Add a USB UART device */
	cdc_acm_uart0: cdc_acm_uart0 {
		compatible = "zephyr,cdc-acm-uart";
	};

	cdc_acm_uart1: cdc_acm_uart1 {
		compatible = "zephyr,cdc-acm-uart";
	};
};

/ {
	reserved-memory {
		#address-cells = <1>;
		#size-cells = <1>;
		ranges;

		sram0_image: image@20000000 {
			/* Zephyr image(s) memory */
		};

		sram0_s: image_s@20000000 {
			/* Secure image memory */
		};

		sram0_ns: image_ns@20040000 {
			/* Non-Secure image memory */
		};
	};
};

/* Include partition configuration file */
#include "rgb_sunglasses_dk_cpuapp_partition_conf.dts"
```

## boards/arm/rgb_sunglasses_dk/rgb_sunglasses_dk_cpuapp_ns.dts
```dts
/*
 * Copyright (c) 2020 Nordic Semiconductor ASA
 *
 * SPDX-License-Identifier: Apache-2.0
 */

/dts-v1/;
#include <nordic/nrf5340_cpuappns_qkaa.dtsi>
#include "rgb_sunglasses_dk_cpuapp_common.dts"

/ {
	model = "Nordic NRF5340 DK NRF5340 Application";
	compatible = "nordic,nrf5340-dk-nrf5340-cpuapp";

	chosen {
		zephyr,sram = &sram0_ns;
		zephyr,flash = &flash0;
		zephyr,code-partition = &slot0_ns_partition;
	};
};
```

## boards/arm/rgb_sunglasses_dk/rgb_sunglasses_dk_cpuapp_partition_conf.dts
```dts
/*
 * Copyright (c) 2019-2020 Nordic Semiconductor ASA
 *
 * SPDX-License-Identifier: Apache-2.0
 */

/*
 * Default Flash planning for nrf5340dk_nrf5340 CPUAPP (Application MCU).
 *
 * Zephyr build for nRF5340 with ARM TrustZone-M support,
 * implies building Secure and Non-Secure Zephyr images.
 *
 * Secure image will be placed, by default, in flash0
 * (or in slot0, if MCUboot is present).
 * Secure image will use sram0 for system memory.
 *
 * Non-Secure image will be placed in slot0_ns, and use
 * sram0_ns for system memory.
 *
 * Note that the Secure image only requires knowledge of
 * the beginning of the Non-Secure image (not its size).
 */

&slot0_partition {
	reg = <0x00030000 0x60000>;
};

/*
&slot0_ns_partition {
	reg = <0x00050000 0x30000>;
};
*/

&slot1_partition {
	reg = <0x00090000 0x60000>;
};

/*
&slot1_ns_partition {
	reg = <0x000c0000 0x30000>;
};
*/

/* Default SRAM planning when building for nRF5340 with
 * ARM TrustZone-M support
 * - Lowest 256 kB SRAM allocated to Secure image (sram0_s)
 * - Middle 192 kB allocated to Non-Secure image (sram0_ns)
 * - Upper 64 kB SRAM allocated as Shared memory (sram0_shared)
 *   (see nrf5340_shared_sram_planning_conf.dts)
 */
&sram0_image {
	reg = <0x20000000 DT_SIZE_K(448)>;
};

&sram0_s {
	reg = <0x20000000 0x40000>;
};

&sram0_ns {
	reg = <0x20040000 0x30000>;
};

/* Include shared RAM configuration file */
#include "rgb_sunglasses_dk_shared_sram_planning_conf.dts"
```

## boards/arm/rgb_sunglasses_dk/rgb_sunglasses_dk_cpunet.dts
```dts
/*
 * Copyright (c) 2020 Nordic Semiconductor ASA
 *
 * SPDX-License-Identifier: Apache-2.0
 */

/dts-v1/;
#include <nordic/nrf5340_cpunet_qkaa.dtsi>
#include "rgb_sunglasses_dk_cpunet-pinctrl.dtsi"

/ {
	model = "Nordic NRF5340 DK NRF5340 Network";
	compatible = "nordic,nrf5340-dk-nrf5340-cpunet";

	chosen {
		zephyr,console = &uart0;
		zephyr,shell-uart = &uart0;
		zephyr,uart-mcumgr = &uart0;
		zephyr,bt-mon-uart = &uart0;
		zephyr,bt-c2h-uart = &uart0;
		zephyr,bt-hci-rpmsg-ipc = &ipc0;
		nordic,802154-spinel-ipc = &ipc0;
		zephyr,sram = &sram1;
		zephyr,flash = &flash1;
		zephyr,code-partition = &slot0_partition;
		zephyr,ieee802154 = &ieee802154;
	};

	/*leds {
		compatible = "gpio-leds";
		led0: led_0 {
			gpios = <&gpio0 28 GPIO_ACTIVE_LOW>;
			label = "Green LED 0";
		};
		led1: led_1 {
			gpios = <&gpio0 29 GPIO_ACTIVE_LOW>;
			label = "Green LED 1";
		};
		led2: led_2 {
			gpios = <&gpio0 30 GPIO_ACTIVE_LOW>;
			label = "Green LED 2";
		};
		led3: led_3 {
			gpios = <&gpio0 31 GPIO_ACTIVE_LOW>;
			label = "Green LED 3";
		};
	};*/

	/*buttons {
		compatible = "gpio-keys";
		button0: button_0 {
			gpios = <&gpio0 23 (GPIO_PULL_UP | GPIO_ACTIVE_LOW)>;
			label = "Push button 1";
		};
		button1: button_1 {
			gpios = <&gpio0 24 (GPIO_PULL_UP | GPIO_ACTIVE_LOW)>;
			label = "Push button 2";
		};
		button2: button_2 {
			gpios = <&gpio0 8 (GPIO_PULL_UP | GPIO_ACTIVE_LOW)>;
			label = "Push button 3";
		};
		button3: button_3 {
			gpios = <&gpio0 9 (GPIO_PULL_UP | GPIO_ACTIVE_LOW)>;
			label = "Push button 4";
		};
	};*/

	arduino_header: connector {
		compatible = "arduino-header-r3";
		#gpio-cells = <2>;
		gpio-map-mask = <0xffffffff 0xffffffc0>;
		gpio-map-pass-thru = <0 0x3f>;
		gpio-map = <0 0 &gpio0 4 0>,	/* A0 */
			   <1 0 &gpio0 5 0>,	/* A1 */
			   <2 0 &gpio0 6 0>,	/* A2 */
			   <3 0 &gpio0 7 0>,	/* A3 */
			   <4 0 &gpio0 25 0>,	/* A4 */
			   <5 0 &gpio0 26 0>,	/* A5 */
			   <6 0 &gpio1 0 0>,	/* D0 */
			   <7 0 &gpio1 1 0>,	/* D1 */
			   <8 0 &gpio1 4 0>,	/* D2 */
			   <9 0 &gpio1 5 0>,	/* D3 */
			   <10 0 &gpio1 6 0>,	/* D4 */
			   <11 0 &gpio1 7 0>,	/* D5 */
			   <12 0 &gpio1 8 0>,	/* D6 */
			   <13 0 &gpio1 9 0>,	/* D7 */
			   <14 0 &gpio1 10 0>,	/* D8 */
			   <15 0 &gpio1 11 0>,	/* D9 */
			   <16 0 &gpio1 12 0>,	/* D10 */
			   <17 0 &gpio1 13 0>,	/* D11 */
			   <18 0 &gpio1 14 0>,	/* D12 */
			   <19 0 &gpio1 15 0>,	/* D13 */
			   <20 0 &gpio1 2 0>,	/* D14 */
			   <21 0 &gpio1 3 0>;	/* D15 */
	};

	/* These aliases are provided for compatibility with samples */
	aliases {
		/*led0 = &led0;
		led1 = &led1;
		led2 = &led2;
		led3 = &led3;
		sw0 = &button0;
		sw1 = &button1;
		sw2 = &button2;
		sw3 = &button3;
		bootloader-led0 = &led0;
		mcuboot-button0 = &button0;
		mcuboot-led0 = &led0;*/
		watchdog0 = &wdt0;
	};
};

&gpiote {
	status = "okay";
};

&gpio0 {
	status = "okay";
};

&gpio1 {
	status = "okay";
};

&uart0 {
	status = "okay";
	current-speed = <115200>;
	pinctrl-0 = <&uart0_default>;
	pinctrl-1 = <&uart0_sleep>;
	pinctrl-names = "default", "sleep";
};

arduino_serial: &uart0{};

arduino_i2c: &i2c0 {
	compatible = "nordic,nrf-twim";
	/* Cannot be used together with uart0. */
	/* status = "okay"; */
	pinctrl-0 = <&i2c0_default>;
	pinctrl-1 = <&i2c0_sleep>;
	pinctrl-names = "default", "sleep";
};

arduino_spi: &spi0 {
	compatible = "nordic,nrf-spim";
	/* Cannot be used together with uart0. */
	/* status = "okay"; */
	cs-gpios = <&arduino_header 16 GPIO_ACTIVE_LOW>; /* D10 */
	pinctrl-0 = <&spi0_default>;
	pinctrl-1 = <&spi0_sleep>;
	pinctrl-names = "default", "sleep";
};

&timer0 {
	status = "okay";
};

&timer1 {
	status = "okay";
};

&timer2 {
	status = "okay";
};

&flash1 {

	partitions {
		compatible = "fixed-partitions";
		#address-cells = <1>;
		#size-cells = <1>;

		boot_partition: partition@0 {
			label = "mcuboot";
			reg = <0x00000000 0xc000>;
		};
		slot0_partition: partition@c000 {
			label = "image-0";
			reg = <0x0000C000 0x12000>;
		};
		slot1_partition: partition@1e000 {
			label = "image-1";
			reg = <0x0001E000 0x12000>;
		};
		scratch_partition: partition@30000 {
			label = "image-scratch";
			reg = <0x00030000 0xa000>;
		};
		storage_partition: partition@3a000 {
			label = "storage";
			reg = <0x0003a000 0x6000>;
		};
	};
};

&ieee802154 {
	status = "okay";
};

/* Include shared RAM configuration file */
#include "rgb_sunglasses_dk_shared_sram_planning_conf.dts"
```

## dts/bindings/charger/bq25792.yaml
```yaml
description: Texas Instruments BQ25792 Buck-Boost Battery Charger

compatible: "ti,bq25792"

include: [i2c-device.yaml]

properties:
  irq-gpios:
      type: phandle-array
      description: |
        I2CS_IRQ pin
        This pin defaults to active low when produced by the sensor.
        The property value should ensure the flags properly describe
        the signal that is presented to the driver.
```

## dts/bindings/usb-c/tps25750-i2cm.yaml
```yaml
description: TPS25750 USB Power Delivery Controller

compatible: "ti,tps25750-i2cm"

include: [i2c-controller.yaml]
```

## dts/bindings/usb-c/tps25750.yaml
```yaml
description: TPS25750 USB Power Delivery Controller

compatible: "ti,tps25750"

include: [i2c-device.yaml]

properties:
  patch-address:
    type: int
    default: 0x15
    description: |
      The I2C address to use during patch download.
  patch-chunk-size:
    type: int
    default: 32
    description: |
      The size of chunks sent during patch download.
  irq-gpios:
      type: phandle-array
      description: |
        I2CS_IRQ pin
        This pin defaults to active low when produced by the sensor.
        The property value should ensure the flags properly describe
        the signal that is presented to the driver.
```

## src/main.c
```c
/*
 * Copyright (c) 2023 Nordic Semiconductor ASA
 *
 * SPDX-License-Identifier: LicenseRef-Nordic-5-Clause
 */

#include <zephyr/types.h>
#include <stddef.h>
#include <string.h>
#include <errno.h>
#include <zephyr/sys/printk.h>
#include <zephyr/sys/byteorder.h>
#include <zephyr/kernel.h>
#include <zephyr/drivers/gpio.h>
#include <soc.h>

#include <zephyr/logging/log.h>

LOG_MODULE_REGISTER(main);

void main(void)
{
    LOG_INF("RGB Sunglasses - Main");

    for (;;) {
        // LOG_INF("App is alive");
        k_msleep(10000);
    }
}
```

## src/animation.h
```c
#pragma once

#include <led_config.h>

class Animation
{
public:
    virtual void init() = 0;
    virtual void tick(const LedConfig* config, const size_t timeSinceLastTickMs, const size_t bufferId) = 0;
};
```

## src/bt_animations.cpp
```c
#include <bt_animations.h>
#include <led_controller.h>

#include <zephyr/logging/log.h>

LOG_MODULE_REGISTER(bt_anim, LOG_LEVEL_INF);

void BtAdvertisingAnimation::init() {
    currentCycleTimeMs = 0;
}

void BtAdvertisingAnimation::tick(const LedConfig* config, const size_t timeSinceLastTickMs, const size_t bufferId) {

    // What should the current brightness be?
    currentCycleTimeMs += timeSinceLastTickMs;

    // Wrap around animation cycle
    if (currentCycleTimeMs > kFadeTimeMs) {
        currentCycleTimeMs = 0;
    }

    // Current brightness: 
    // if less than half of kFadeTimeMs, we are getting brighter
    // if more than half of kFadeTimeMS, we are getting dimmer
    size_t currentBrightness = 0;
    
    if (currentCycleTimeMs < kFadeHalfTimeMs) {
        currentBrightness = kMinFade + (kFadeDistance * ((float)currentCycleTimeMs) / ((float)kFadeHalfTimeMs));
    } else {
        currentBrightness = kMaxFade - (kFadeDistance * ((float)(currentCycleTimeMs-kFadeHalfTimeMs)) / ((float)kFadeHalfTimeMs));
    }

    for (size_t x = 0; x < config->displayWidth; x++) {
        for (size_t y = 0; y < config->displayHeight; y++) {
            set_pixel_in_framebuffer(config, x, y, bufferId, 0, 0, currentBrightness);
        }
    }
}

void BtConnectingAnimation::init() {
    isBrightFlash = false;
    currentCycleTimeMs = 0;
}

void BtConnectingAnimation::tick(const LedConfig* config, const size_t timeSinceLastTickMs, const size_t bufferId) {

    // What should the current brightness be?
    currentCycleTimeMs += timeSinceLastTickMs;

    // Wrap around animation cycle
    if (currentCycleTimeMs > kFlashSpeedMs) {
        // Invert the state of what we are flashing
        isBrightFlash = !isBrightFlash;
        // Wrap around
        currentCycleTimeMs = 0;
    }

    size_t currentBrightness = 0;
    
    if (isBrightFlash) {
        currentBrightness = kMaxFlash;
    } else {
        currentBrightness = kMinFlash;
    }

    for (size_t x = 0; x < config->displayWidth; x++) {
        for (size_t y = 0; y < config->displayHeight; y++) {
            set_pixel_in_framebuffer(config, x, y, bufferId, 0, 0, currentBrightness);
        }
    }
}
```

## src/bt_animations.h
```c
#pragma once

#include <animation.h>

class BtAdvertisingAnimation : public Animation
{
    public:
        void init() override;
        void tick(const LedConfig* config, const size_t timeSinceLastTickMs, const size_t bufferId) override;

    private:
        static constexpr size_t kMinFade = 10;
        static constexpr size_t kMaxFade = 100;
        static constexpr size_t kFadeDistance = kMaxFade - kMinFade;

        // The time required to fade up and then back down
        static constexpr size_t kFadeTimeMs = 1000;
        static constexpr size_t kFadeHalfTimeMs = kFadeTimeMs/2;

        // Current cycle time within the animation cycle
        size_t currentCycleTimeMs = 0;
};

class BtConnectingAnimation : public Animation
{
    public:
        void init() override;
        void tick(const LedConfig* config, const size_t timeSinceLastTickMs, const size_t bufferId) override;

    private:
        static constexpr size_t kMinFlash = 10;
        static constexpr size_t kMaxFlash = 100;

        // The time spent flashing on each pulse type
        static constexpr size_t kFlashSpeedMs = 300;

        // The current animation state
        bool isBrightFlash = false;

        // Current cycle time within the animation cycle
        size_t currentCycleTimeMs = 0;
};
```

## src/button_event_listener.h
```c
#pragma once

#include <cstddef>

/**
 * @brief Listener for button press events.
 *
 * Implementations are called from a system work queue thread (not from
 * the GPIO interrupt context). Register with buttons_register_listener().
 */
class ButtonEventListener
{
public:
    virtual ~ButtonEventListener() = default;

    /**
     * @param buttonId Zero-based button index (0-3 for the four main buttons,
     *                 4 for the wake button).
     */
    virtual void onButtonPressed(size_t buttonId) = 0;
};
```

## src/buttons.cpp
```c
#include <zephyr/kernel.h>
#include <zephyr/init.h>
#include <zephyr/drivers/gpio.h>

#include <zephyr/logging/log.h>

#include <buttons.h>

LOG_MODULE_REGISTER(buttons);

static const struct gpio_dt_spec button0 = GPIO_DT_SPEC_GET(DT_ALIAS(sw0), gpios);
static const struct gpio_dt_spec button1 = GPIO_DT_SPEC_GET(DT_ALIAS(sw1), gpios);
static const struct gpio_dt_spec button2 = GPIO_DT_SPEC_GET(DT_ALIAS(sw2), gpios);
static const struct gpio_dt_spec button3 = GPIO_DT_SPEC_GET(DT_ALIAS(sw3), gpios);
static const struct gpio_dt_spec button_wake = GPIO_DT_SPEC_GET(DT_ALIAS(sw_wake), gpios);

static struct gpio_callback callback0;
static struct gpio_callback callback1;
static struct gpio_callback callback2;
static struct gpio_callback callback3;
static struct gpio_callback callback_wake;

/*
void button_thread_func(void* a, void* b, void* c);

K_THREAD_DEFINE(
    button_thread,
    2048,
    button_thread_func,
    NULL,
    NULL,
    NULL,
    6,
    0,
    0
);

void button_thread_func(void* a, void* b, void* c) {
    while(true) {

        int val = gpio_pin_get_dt(&button2);

        if (val != 0) {
            LOG_INF("Button pressed!");
        }

        k_msleep(100);
    }
}
*/

static ButtonEventListener *sButtonListener = nullptr;

void buttons_register_listener(ButtonEventListener *listener)
{
    sButtonListener = listener;
}

/* k_msgq for buffering button IDs from ISR to work handler */
K_MSGQ_DEFINE(button_event_msgq, sizeof(size_t), 10, 4);

static struct k_work button_work;

static void button_work_handler(struct k_work *work)
{
    size_t buttonId;
    while (k_msgq_get(&button_event_msgq, &buttonId, K_NO_WAIT) == 0)
    {
        if (sButtonListener)
        {
            sButtonListener->onButtonPressed(buttonId);
        }
    }
}

static void enqueue_button_press(size_t buttonId)
{
    k_msgq_put(&button_event_msgq, &buttonId, K_NO_WAIT);
    k_work_submit(&button_work);
}

void button_callback(const struct device *port, struct gpio_callback *cb, gpio_port_pins_t pins)
{
    //printk("ISR Triggered! Pins: %u\n", pins);

    // Which button was pushed?
    if ((port == button0.port) && (pins & BIT(button0.pin)))
    {
        //printk("Button 0 Pressed!\n");
        enqueue_button_press(0);
    }

    if ((port == button1.port) && (pins & BIT(button1.pin)))
    {
        //printk("Button 1 Pressed!\n");
        enqueue_button_press(1);
    }

    if ((port == button2.port) && (pins & BIT(button2.pin)))
    {
        //printk("Button 2 Pressed!\n");
        enqueue_button_press(2);
    }

    if ((port == button3.port) && (pins & BIT(button3.pin)))
    {
        //printk("Button 3 Pressed!\n");
        enqueue_button_press(3);
    }

    if ((port == button_wake.port) && (pins & BIT(button_wake.pin)))
    {
        //printk("Wake Button Pressed!\n");
        enqueue_button_press(4);
    }
}

static int button_init(void)
{
    LOG_INF("Configuring buttons");

    k_work_init(&button_work, button_work_handler);

    gpio_pin_configure_dt(&button0, GPIO_INPUT);
    gpio_pin_configure_dt(&button1, GPIO_INPUT);
    gpio_pin_configure_dt(&button2, GPIO_INPUT);
    gpio_pin_configure_dt(&button3, GPIO_INPUT);
    gpio_pin_configure_dt(&button_wake, GPIO_INPUT);

    // Configure GPIO pin interrupts
    gpio_pin_interrupt_configure_dt(&button0, GPIO_INT_EDGE_TO_ACTIVE);
    gpio_pin_interrupt_configure_dt(&button1, GPIO_INT_EDGE_TO_ACTIVE);
    gpio_pin_interrupt_configure_dt(&button2, GPIO_INT_EDGE_TO_ACTIVE);
    gpio_pin_interrupt_configure_dt(&button3, GPIO_INT_EDGE_TO_ACTIVE);
    gpio_pin_interrupt_configure_dt(&button_wake, GPIO_INT_EDGE_TO_ACTIVE);

    gpio_init_callback(&callback0, button_callback, BIT(button0.pin));
    gpio_init_callback(&callback1, button_callback, BIT(button1.pin));
    gpio_init_callback(&callback2, button_callback, BIT(button2.pin));
    gpio_init_callback(&callback3, button_callback, BIT(button3.pin));
    gpio_init_callback(&callback_wake, button_callback, BIT(button_wake.pin));

    gpio_add_callback(button0.port, &callback0);
    gpio_add_callback(button1.port, &callback1);
    gpio_add_callback(button2.port, &callback2);
    gpio_add_callback(button3.port, &callback3);
    gpio_add_callback(button_wake.port, &callback_wake);

    return 0;
}

SYS_INIT(button_init, APPLICATION, 1);
```

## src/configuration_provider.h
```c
#pragma once

/**
 * @brief Abstract source of device-level display and render configuration.
 *
 * Implementations may read from BLE GATT characteristics (CoreConfig),
 * hard-coded defaults, or test doubles.
 */
class ConfigurationProvider
{
public:
    virtual ~ConfigurationProvider() = default;

    /** @return Brightness multiplier in [0, 1]. */
    virtual float getBrightnessFactor() = 0;

    /** @return Target display thread interval in milliseconds. */
    virtual float getDisplayRateMs() = 0;

    /** @return Target render thread interval in milliseconds. */
    virtual float getRenderRateMs() = 0;
};
```

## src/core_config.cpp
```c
#include <bluetooth/bt_service_cpp.h>
#include <core_config.h>
#include <zephyr/logging/log.h>

LOG_MODULE_REGISTER(core_config, LOG_LEVEL_INF);

constexpr bt_uuid_128 kCoreConfigServiceUuid = BT_UUID_INIT_128(
    BT_UUID_128_ENCODE(0x12345678, 0x1234, 0x5678, CoreConfig::kServiceIdNum, 0x56789abc0000));

BtGattPrimaryService<kCoreConfigServiceUuid> coreConfigPrimaryService;
BtGattAutoReadWriteNotifyCharacteristic<"Brightness (0-1000)", uint32_t, 20> coreBrightness;
BtGattAutoReadWriteNotifyCharacteristic<"Display Thread Rate * 1000 (ms)", uint32_t, 33300>
    coreDisplayThreadRateMs;
BtGattAutoReadWriteNotifyCharacteristic<"Render Thread Rate * 1000 (ms)", uint32_t, 11100>
    coreRenderThreadRateMs;

BtGattServer coreConfigServer(coreConfigPrimaryService, coreBrightness, coreDisplayThreadRateMs,
                              coreRenderThreadRateMs);
BT_GATT_SERVER_REGISTER(coreConfigServerStatic, coreConfigServer);

float CoreConfig::getBrightnessFactor() {
    uint32_t brightnessUint = coreBrightness;

    // Clamp to sane values
    if (brightnessUint > 1000) {
        brightnessUint = 1000;
        coreBrightness = 1000;  // Clamp the BT variable as well
    }

    return ((float)brightnessUint) / 1000.0f;
}

float CoreConfig::getDisplayRateMs() {
    uint32_t displayRateUint = coreDisplayThreadRateMs;
    return ((float)displayRateUint) / 1000.0f;
}

float CoreConfig::getRenderRateMs() {
    uint32_t renderRateUint = coreRenderThreadRateMs;
    return ((float)renderRateUint) / 1000.0f;
}
```

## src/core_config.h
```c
#pragma once

#include <configuration_provider.h>
#include <singleton.h>

#include <cstddef>

class CoreConfig : public Singleton<CoreConfig>, public ConfigurationProvider {
   public:
    static constexpr size_t kServiceIdNum = 1;

    /**
     * @brief Returns a value between 0 and 1 representing the current display brightness
     *
     * @return float
     */
    float getBrightnessFactor() override;

    float getDisplayRateMs() override;

    float getRenderRateMs() override;
};
```

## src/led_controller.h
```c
#pragma once

#include <led_config.h>
#include <configuration_provider.h>
#include <cstdint>
#include <cstddef>

const LedConfig* get_current_led_config();

int claimBufferForRender(size_t& buffer);

int releaseBufferFromRender(const size_t buffer);

int set_pixel_in_framebuffer(const LedConfig* config, size_t x, size_t y, size_t bufferId, uint8_t red, uint8_t green, uint8_t blue);

/**
 * @brief Inject a ConfigurationProvider for the LED display thread.
 *
 * If not called before the thread reads configuration, CoreConfig::getInstance()
 * is used as the default. Useful for unit tests.
 */
void led_controller_set_config_provider(ConfigurationProvider *provider);
```
